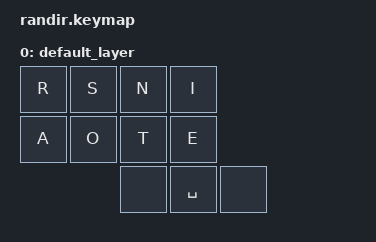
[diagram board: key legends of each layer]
/*
 * Copyright (c) 2020 The ZMK Contributors
 *
 * SPDX-License-Identifier: MIT
 */

#include <behaviors.dtsi>
#include <dt-bindings/zmk/keys.h>
#include <dt-bindings/zmk/bt.h>



&sk {
     release-after-ms = <2000>;
     quick-release;
 };
 

{
    combos {
        compatible = "zmk,combos";
		
//								
//		     	┌────┬────┬────┐
//		   ┌────┤ 1  |	2 | 3  | 
//	       | 0	├────┼────┼────┤
//	   ┌───┴┬───┤ 5  | 6  | 7  |
//	   | 4  |	└────┴──┬─┴──┬─┴──┐ 
//	   └────┘		    | 8  | 9  ├────┐
//					    └────┴────┤ 10 |
//							      └────┘
// COMBOS LETTERS

		combo_A {			timeout-ms = <50>;	key-positions = <4 9>;			bindings = <&kp LS(A) >;};
		combo_B {			timeout-ms = <50>;	key-positions = <0 1 9>;		bindings = <&kp LS(B) >;};
		combo_b {			timeout-ms = <50>;	key-positions = <0 1>;			bindings = <&kp B >;};
		combo_C {			timeout-ms = <50>;	key-positions = <5 7 9>;		bindings = <&kp LS(C) >;};
		combo_c {			timeout-ms = <50>;	key-positions = <5 7>;			bindings = <&kp C >;};
		combo_D {			timeout-ms = <50>;	key-positions = <4 7 9>;		bindings = <&kp LS(D) >;};
		combo_d {			timeout-ms = <50>;	key-positions = <4 7>;			bindings = <&kp D >;};
		combo_E {			timeout-ms = <50>;	key-positions = <7 9>;			bindings = <&kp LS(E) >;};
		combo_F {			timeout-ms = <50>;	key-positions = <1 3 9>;		bindings = <&kp LS(F) >;};
		combo_f {			timeout-ms = <50>;	key-positions = <1 3>;			bindings = <&kp F >;};
		combo_G {			timeout-ms = <50>;	key-positions = <0 3 9>;		bindings = <&kp LS(G) >;};
		combo_g {			timeout-ms = <50>;	key-positions = <0 3>;			bindings = <&kp G >;};
		combo_H {			timeout-ms = <50>;	key-positions = <6 7 9>;		bindings = <&kp LS(H) >;};
		combo_h {			timeout-ms = <50>;	key-positions = <6 7>;			bindings = <&kp H >;};
		combo_I {			timeout-ms = <50>;	key-positions = <3 9>;			bindings = <&kp LS(I) >;};
		combo_J {			timeout-ms = <50>;	key-positions = <2 4 9>;		bindings = <&kp LS(J) >;};
		combo_j {			timeout-ms = <50>;	key-positions = <2 4>;			bindings = <&kp J >;};
		combo_K {			timeout-ms = <50>;	key-positions = <3 5 9>;		bindings = <&kp LS(K) >;};
		combo_k {			timeout-ms = <50>;	key-positions = <3 5>;			bindings = <&kp K >;};
		combo_L {			timeout-ms = <50>;	key-positions = <4 5 9>;		bindings = <&kp LS(L) >;};
		combo_l {			timeout-ms = <50>;	key-positions = <4 5>;			bindings = <&kp L >;};
		combo_M {			timeout-ms = <50>;	key-positions = <0 7 9>;		bindings = <&kp LS(M) >;};
		combo_m {			timeout-ms = <50>;	key-positions = <0 7>;			bindings = <&kp M >;};
		combo_N {			timeout-ms = <50>;	key-positions = <2 9>;			bindings = <&kp LS(N) >;};
		combo_O {			timeout-ms = <50>;	key-positions = <5 9>;			bindings = <&kp LS(O) >;};
		combo_P {			timeout-ms = <50>;	key-positions = <1 2 9>;		bindings = <&kp LS(P) >;};
		combo_p {			timeout-ms = <50>;	key-positions = <1 2>;			bindings = <&kp P >;};
		combo_Qu {			timeout-ms = <50>;	key-positions = <4 6 9>;		bindings = <&kp LS(Q)>,<&kp U >;};
		combo_qu {			timeout-ms = <50>;	key-positions = <4 6>;			bindings = <&kp Q>,<&kp U >;};
		combo_R {			timeout-ms = <50>;	key-positions = <0 9>;			bindings = <&kp LS(R) >;};
		combo_S {			timeout-ms = <50>;	key-positions = <1 9>;			bindings = <&kp LS(S) >;};
		combo_T {			timeout-ms = <50>;	key-positions = <6 9>;			bindings = <&kp LS(T) >;};
		combo_U {			timeout-ms = <50>;	key-positions = <5 6 9>;		bindings = <&kp LS(U) >;};
		combo_u {			timeout-ms = <50>;	key-positions = <5 6>;			bindings = <&kp U >;};
		combo_V {			timeout-ms = <50>;	key-positions = <1 7 9>;		bindings = <&kp LS(V) >;};
		combo_v {			timeout-ms = <50>;	key-positions = <1 7>;			bindings = <&kp V >;};
		combo_W {			timeout-ms = <50>;	key-positions = <3 4 9>;		bindings = <&kp LS(W) >;};
		combo_w {			timeout-ms = <50>;	key-positions = <3 4>;			bindings = <&kp W >;};
		combo_X {			timeout-ms = <50>;	key-positions = <0 6 9>;		bindings = <&kp LS(X) >;};
		combo_x {			timeout-ms = <50>;	key-positions = <0 6>;			bindings = <&kp X >;};
		combo_Y {			timeout-ms = <50>;	key-positions = <2 3 9>;		bindings = <&kp LS(Y) >;};
		combo_y {			timeout-ms = <50>;	key-positions = <2 3>;			bindings = <&kp Y >;};
		combo_Z {			timeout-ms = <50>;	key-positions = <0 2 9>;		bindings = <&kp LS(Z) >;};
		combo_z {			timeout-ms = <50>;	key-positions = <0 2>;			bindings = <&kp Z >;};
	}; /*


//								
//		     	┌────┬────┬────┐
//		   ┌────┤ 1  |	2 | 3  | 
//	       | 0	├────┼────┼────┤
//	   ┌───┴┬───┤ 5  | 6  | 7  |
//	   | 4  |	└────┴──┬─┴──┬─┴──┐ 
//	   └────┘		    | 8  | 9  ├────┐
//					    └────┴────┤ 10 |
//							      └────┘
// COMBOS PUNCTUATION

		combo_. {			timeout-ms = <50>;	key-positions = <0 5>;			bindings = <&kp PERIOD >;};
		combo_, {			timeout-ms = <50>;	key-positions = <2 7>;			bindings = <&kp COMMA >;};
		combo_: {			timeout-ms = <50>;	key-positions = <0 5 9>;		bindings = <&kp COLON >;};
		combo_; {			timeout-ms = <50>;	key-positions = <2 7 9>;		bindings = <&kp SEMICOLON >;};
		combo_? {			timeout-ms = <50>;	key-positions = <3 6>;			bindings = <&kp QUESTION >;};
		combo_! {			timeout-ms = <50>;	key-positions = <3 6 9>;		bindings = <&kp EXCLAMATION >;};
		combo_apostrophe {	timeout-ms = <50>;	key-positions = <1 4>;			bindings = <&kp APOSTROPHE >;};
		combo_dbl_quotes {	timeout-ms = <50>;	key-positions = <1 4 9>;		bindings = <&kp DOUBLE_QUOTES >;};
//		combo_apostrophe {	timeout-ms = <50>;	key-positions = <1 4 10>;		bindings = <&kp ` >;};		
//		combo_ellipsis {	timeout-ms = <50>;	key-positions = <2 7 10>;		bindings = <&kp … >;};		
		
//								
//		     	┌────┬────┬────┐
//		   ┌────┤ 1  |	2 | 3  | 
//	       | 0	├────┼────┼────┤
//	   ┌───┴┬───┤ 5  | 6  | 7  |
//	   | 4  |	└────┴──┬─┴──┬─┴──┐ 
//	   └────┘		    | 8  | 9  ├────┐
//					    └────┴────┤ 10 |
//							      └────┘
// COMBOS NUMBERS
		combo_1 {			timeout-ms = <50>;	key-positions = <0 10>;			bindings = <&kp N1 >;};
		combo_2 {			timeout-ms = <50>;	key-positions = <1 10>;			bindings = <&kp N2 >;};
		combo_3 {			timeout-ms = <50>;	key-positions = <2 10>;			bindings = <&kp N3 >;};
		combo_4 {			timeout-ms = <50>;	key-positions = <3 10>;			bindings = <&kp N4 >;};
		combo_5 {			timeout-ms = <50>;	key-positions = <4 10>;			bindings = <&kp N5 >;};
		combo_6 {			timeout-ms = <50>;	key-positions = <5 10>;			bindings = <&kp N6 >;};
		combo_7 {			timeout-ms = <50>;	key-positions = <6 10>;			bindings = <&kp N7 >;};
		combo_8 {			timeout-ms = <50>;	key-positions = <7 10>;			bindings = <&kp N8 >;};
		combo_9 {			timeout-ms = <50>;	key-positions = <1 2 10>;		bindings = <&kp N9 >;};
		combo_0 {			timeout-ms = <50>;	key-positions = <5 6 10>;		bindings = <&kp N0 >;};

//								
//		     	┌────┬────┬────┐
//		   ┌────┤ 1  |	2 | 3  | 
//	       | 0	├────┼────┼────┤
//	   ┌───┴┬───┤ 5  | 6  | 7  |
//	   | 4  |	└────┴──┬─┴──┬─┴──┐ 
//	   └────┘		    | 8  | 9  ├────┐
//					    └────┴────┤ 10 |
//							      └────┘
//// COMBOS NUMBERS

		combo_[ {			timeout-ms = <50>;	key-positions = <0 1 10>;		bindings = <&kp LEFT_BRACKET >;};
		combo_] {			timeout-ms = <50>;	key-positions = <2 3 10>;		bindings = <&kp RIGHT_BRACKET >;};
		combo_{ {			timeout-ms = <50>;	key-positions = <0 2 10>;		bindings = <&kp LEFT_BRACE >;};
		combo_} {			timeout-ms = <50>;	key-positions = <1 3 10>;		bindings = <&kp RIGHT_BRACE >;};
		combo_@ {			timeout-ms = <50>;	key-positions = <0 3 10>;		bindings = <&kp AT >;};
//		combo_degree {		timeout-ms = <50>;	key-positions = <0 5 10>;		bindings = <&kp ° >;};
		combo_^ {			timeout-ms = <50>;	key-positions = <0 6 10>;		bindings = <&kp CARET >;};
		combo_$ {			timeout-ms = <50>;	key-positions = <0 7 10>;		bindings = <&kp DOLLAR >;};
		combo__ {			timeout-ms = <50>;	key-positions = <2 5 9>;		bindings = <&kp UNDERSCORE >;};
		combo_= {			timeout-ms = <50>;	key-positions = <2 4 10>;		bindings = <&kp EQUAL >;};
		combo_& {			timeout-ms = <50>;	key-positions = <3 4 10>;		bindings = <&kp AMPERSAND >;};
		combo_~ {			timeout-ms = <50>;	key-positions = <2 5 10>;		bindings = <&kp TILDE >;};
		combo_+ {			timeout-ms = <50>;	key-positions = <3 5 10>;		bindings = <&kp PLUS >;};
		combo_( {			timeout-ms = <50>;	key-positions = <4 5 10>;		bindings = <&kp LEFT_PARENTHESIS >;};
		combo_) {			timeout-ms = <50>;	key-positions = <6 7 10>;		bindings = <&kp RIGHT_PARENTHESIS >;};
		combo_% {			timeout-ms = <50>;	key-positions = <3 6 10>;		bindings = <&kp PERCENT >;};
		combo_< {			timeout-ms = <50>;	key-positions = <4 6 10>;		bindings = <&kp LESS_THAN >;};
		combo_> {			timeout-ms = <50>;	key-positions = <5 7 10>;		bindings = <&kp GREATER_THAN >;};
		combo_* {			timeout-ms = <50>;	key-positions = <1 7 10>;		bindings = <&kp ASTERISK >;};
		combo_# {			timeout-ms = <50>;	key-positions = <4 7 10>;		bindings = <&kp HASH >;};
		combo_- {			timeout-ms = <50>;	key-positions = <2 5>;			bindings = <&kp MINUS >;};
		combo_/ {			timeout-ms = <50>;	key-positions = <1 6>;			bindings = <&kp SLASH >;};
		combo_\ {			timeout-ms = <50>;	key-positions = <1 6 9>;		bindings = <&kp BACKSLASH >;};
		combo_| {			timeout-ms = <50>;	key-positions = <1 6 10>;		bindings = <&kp PIPE >;};		


		
//								
//		     	┌────┬────┬────┐
//		   ┌────┤ 1  |	2 | 3  | 
//	       | 0	├────┼────┼────┤
//	   ┌───┴┬───┤ 5  | 6  | 7  |
//	   | 4  |	└────┴──┬─┴──┬─┴──┐ 
//	   └────┘		    | 8  | 9  ├────┐
//					    └────┴────┤ 10 |
//							      └────┘
//
// COMBOS WHITESPACES, BACKSPACES AND ENTER

		combo_ENTER {		timeout-ms = <50>;	key-positions = <5 6 7>;		bindings = <&kp ENTER >;};
		combo_BCKSPC {		timeout-ms = <50>;	key-positions = <1 2 3>;		bindings = <&kp BACKSPACE >;};
		combo_DEL {			timeout-ms = <50>;	key-positions = <0 1 2>;		bindings = <&kp DELETE >;};
		combo_TAB {			timeout-ms = <50>;	key-positions = <4 5 6>;		bindings = <&kp TAB >;};
		combo_ESC {			timeout-ms = <50>;	key-positions = <0 1 2 3>;		bindings = <&kp ESCAPE >;};
		
//								
//		     	┌────┬────┬────┐
//		   ┌────┤ 1  |	2 | 3  | 
//	       | 0	├────┼────┼────┤
//	   ┌───┴┬───┤ 5  | 6  | 7  |
//	   | 4  |	└────┴──┬─┴──┬─┴──┐ 
//	   └────┘		    | 8  | 9  ├────┐
//					    └────┴────┤ 10 |
//							      └────┘
// COMBOS FOR MODIFIERS

		combo_ALT {			timeout-ms = <50>;	key-positions = <3 7>;			bindings = <&sk LEFT_ALT >;};
		combo_GUI {			timeout-ms = <50>;	key-positions = <2 6>;			bindings = <&sk LEFT_GUI >;};
		combo_PRINTSCREEN {	timeout-ms = <50>;	key-positions = <2 6 9>;		bindings = <&kp PRINTSCREEN >;};
		combo_ALTPS {		timeout-ms = <50>;	key-positions = <2 6 10>;		bindings = <&kp LA(PRINTSCREEN) >;};
		combo_CTRLGUI {		timeout-ms = <50>;	key-positions = <0 2 4 6>;		bindings = <&sk LC(LEFT_GUI) >;};
		combo_CTRLSHFTALT {	timeout-ms = <50>;	key-positions = <0 1 3 4 5 7>;	bindings = <&sk LC(LS(LEFT_ALT)) >;};
//		combo_GUIALT {		timeout-ms = <50>;	key-positions = <2 3 6 7>;		bindings = <&sk GUIALT >;};
		combo_CTRLDEL {		timeout-ms = <50>;	key-positions = <0 1 2 9>;		bindings = <&kp LC(DEL) >;};
		combo_CTRL {		timeout-ms = <50>;	key-positions = <0 4>;			bindings = <&kp LEFT_CONTROL >;};
		combo_PAGEUP {		timeout-ms = <50>;	key-positions = <0 4 9>;		bindings = <&kp PAGE_UP >;};
		combo_PAGEDOWN {	timeout-ms = <50>;	key-positions = <0 4 10>;		bindings = <&kp PAGE_DOWN >;};
		combo_SHIFT {		timeout-ms = <50>;	key-positions = <1 5>;			bindings = <&kp LEFT_SHIFT >;};
		combo_HOME {		timeout-ms = <50>;	key-positions = <1 5 9>;		bindings = <&kp HOME >;};
		combo_END {			timeout-ms = <50>;	key-positions = <1 5 10>;		bindings = <&kp END >;};
		combo_CTRLSHFT {	timeout-ms = <50>;	key-positions = <0 1 4 5>;		bindings = <&sk LC(LEFT_SHIFT) >;};
		combo_CTRLALT {		timeout-ms = <50>;	key-positions = <0 3 4 7>;		bindings = <&sk LC(LEFT_ALT) >;};
		combo_SHFTALT {		timeout-ms = <50>;	key-positions = <1 3 5 7>;		bindings = <&sk LS(LEFT_ALT) >;};
//		combo_FUNCTION {	timeout-ms = <50>;	key-positions = <1 2 3 10>;		bindings = <&kp FN >;};

 
//								
//		     	┌────┬────┬────┐
//		   ┌────┤ 1  |	2 | 3  | 
//	       | 0	├────┼────┼────┤
//	   ┌───┴┬───┤ 5  | 6  | 7  |
//	   | 4  |	└────┴──┬─┴──┬─┴──┐ 
//	   └────┘		    | 8  | 9  ├────┐
//					    └────┴────┤ 10 |
//							      └────┘
//	COMBOS FOR WORD PARTS

		combo_able {		timeout-ms = <50>;	key-positions = <0 1 4 5 7>;	bindings = <&kp A>,<&kp B>,<&kp L>,<&kp E>;};
		combo_about {		timeout-ms = <50>;	key-positions = <0 1 4 5 6>;	bindings = <&kp A>,<&kp B>,<&kp O>,<&kp U>,<&kp T >;};
		combo_ack {			timeout-ms = <50>;	key-positions = <3 4 5 7>;		bindings = <&kp A>,<&kp C>,<&kp K>;};
/*		combo_aise {		timeout-ms = <50>;	key-positions = <1 3 4 7 9>;	bindings = <&kp aise >;};
		combo_ake {			timeout-ms = <50>;	key-positions = <3 4 5 7 9>;	bindings = <&kp ake >;};
		combo_al {			timeout-ms = <50>;	key-positions = <0 4 5 9>;		bindings = <&kp al >;};
		combo_all {			timeout-ms = <50>;	key-positions = <0 4 5>;		bindings = <&kp all >;};
		combo_ally {		timeout-ms = <50>;	key-positions = <2 3 4 5 10>;	bindings = <&kp ally >;};
		combo_also {		timeout-ms = <50>;	key-positions = <1 4 5 6 7>;	bindings = <&kp also >;};
		combo_and {			timeout-ms = <50>;	key-positions = <2 4 7>;		bindings = <&kp and >;};
		combo_ange {		timeout-ms = <50>;	key-positions = <0 2 3 4 7>;	bindings = <&kp ange >;};
		combo_are {			timeout-ms = <50>;	key-positions = <0 4 7>;		bindings = <&kp are >;};
		combo_ation {		timeout-ms = <50>;	key-positions = <2 3 4 5 6>;	bindings = <&kp ation >;};
		combo_ative {		timeout-ms = <50>;	key-positions = <1 3 4 6 7>;	bindings = <&kp ative >;};
		combo_ave {			timeout-ms = <50>;	key-positions = <1 4 7>;		bindings = <&kp ave >;};
		combo_be {			timeout-ms = <50>;	key-positions = <0 1 7 9>;		bindings = <&kp be >;};
		combo_because {		timeout-ms = <50>;	key-positions = <0 1 4 5 6 7>;	bindings = <&kp because >;};
		combo_ch {			timeout-ms = <50>;	key-positions = <5 6 7 9>;		bindings = <&kp ch >;};
		combo_day {			timeout-ms = <50>;	key-positions = <2 3 4 7>;		bindings = <&kp day >;};
		combo_dis {			timeout-ms = <50>;	key-positions = <1 3 4 7>;		bindings = <&kp dis >;};
		combo_each {		timeout-ms = <50>;	key-positions = <4 5 6 7>;		bindings = <&kp each >;};
		combo_eal {			timeout-ms = <50>;	key-positions = <4 5 7>;		bindings = <&kp eal >;};
		combo_ear {			timeout-ms = <50>;	key-positions = <0 4 7 9>;		bindings = <&kp ear >;};
		combo_een {			timeout-ms = <50>;	key-positions = <2 6 7 9>;		bindings = <&kp een >;};
		combo_eir {			timeout-ms = <50>;	key-positions = <0 3 7>;		bindings = <&kp eir >;};
		combo_ent {			timeout-ms = <50>;	key-positions = <2 6 7>;		bindings = <&kp ent >;};
		combo_ere {			timeout-ms = <50>;	key-positions = <0 6 7 9>;		bindings = <&kp ere >;};
		combo_ess {			timeout-ms = <50>;	key-positions = <1 2 7>;		bindings = <&kp ess >;};
		combo_ever {		timeout-ms = <50>;	key-positions = <0 1 7>;		bindings = <&kp ever >;};
		combo_every {		timeout-ms = <50>;	key-positions = <0 1 2 3 7>;	bindings = <&kp every >;};
		combo_for {			timeout-ms = <50>;	key-positions = <0 1 3 5>;		bindings = <&kp for >;};
		combo_from {		timeout-ms = <50>;	key-positions = <0 1 3 5 7>;	bindings = <&kp from >;};
		combo_has {			timeout-ms = <50>;	key-positions = <1 4 6 7 9>;	bindings = <&kp has >;};
		combo_have {		timeout-ms = <50>;	key-positions = <1 4 6 7>;		bindings = <&kp have >;};
		combo_ible {		timeout-ms = <50>;	key-positions = <0 1 4 5 7 9>;	bindings = <&kp ible >;};
		combo_ice {			timeout-ms = <50>;	key-positions = <3 5 7>;		bindings = <&kp ice >;};
		combo_ich {			timeout-ms = <50>;	key-positions = <0 3 4 5 6 7>;	bindings = <&kp ich >;};
		combo_ies {			timeout-ms = <50>;	key-positions = <1 3 7 9>;		bindings = <&kp ies >;};
		combo_igh {			timeout-ms = <50>;	key-positions = <0 3 6 7>;		bindings = <&kp igh >;};
		combo_ight {		timeout-ms = <50>;	key-positions = <0 3 6 7 9>;	bindings = <&kp ight >;};
		combo_ind {			timeout-ms = <50>;	key-positions = <2 3 4 7 9>;	bindings = <&kp ind >;};
		combo_ine {			timeout-ms = <50>;	key-positions = <3 6 7>;		bindings = <&kp ine >;};
		combo_ing {			timeout-ms = <50>;	key-positions = <0 2 3>;		bindings = <&kp ing >;};
		combo_ion {			timeout-ms = <50>;	key-positions = <2 3 5>;		bindings = <&kp ion >;};
		combo_ious {		timeout-ms = <50>;	key-positions = <0 1 5 6>;		bindings = <&kp ious >;};
		combo_irst {		timeout-ms = <50>;	key-positions = <0 1 3 6>;		bindings = <&kp irst >;};
		combo_ise {			timeout-ms = <50>;	key-positions = <1 3 7>;		bindings = <&kp ise >;};
		combo_ism {			timeout-ms = <50>;	key-positions = <0 2 7>;		bindings = <&kp ism >;};
		combo_ist {			timeout-ms = <50>;	key-positions = <1 3 6>;		bindings = <&kp ist >;};
		combo_ive {			timeout-ms = <50>;	key-positions = <1 3 7 10>;		bindings = <&kp ive >;};
		combo_ld {			timeout-ms = <50>;	key-positions = <4 5 7 9>;		bindings = <&kp ld >;};
		combo_less {		timeout-ms = <50>;	key-positions = <1 2 7 10>;		bindings = <&kp less >;};
		combo_less {		timeout-ms = <50>;	key-positions = <1 6 7 10>;		bindings = <&kp less >;};
		combo_lly {			timeout-ms = <50>;	key-positions = <2 3 4 5 9>;	bindings = <&kp lly >;};
		combo_ly {			timeout-ms = <50>;	key-positions = <2 3 4 5>;		bindings = <&kp ly >;};
		combo_ment {		timeout-ms = <50>;	key-positions = <0 2 6 7>;		bindings = <&kp ment >;};
		combo_ness {		timeout-ms = <50>;	key-positions = <1 2 7 9>;		bindings = <&kp ness >;};
		combo_obvious {		timeout-ms = <50>;	key-positions = <0 1 3 5 6 7>;	bindings = <&kp obvious >;};
		combo_ock {			timeout-ms = <50>;	key-positions = <3 5 7 9>;		bindings = <&kp ock >;};
		combo_oint {		timeout-ms = <50>;	key-positions = <2 3 5 6 9>;	bindings = <&kp oint >;};
		combo_ome {			timeout-ms = <50>;	key-positions = <0 5 7>;		bindings = <&kp ome >;};
		combo_one {			timeout-ms = <50>;	key-positions = <2 5 7>;		bindings = <&kp one >;};
		combo_ook {			timeout-ms = <50>;	key-positions = <1 3 5>;		bindings = <&kp ook >;};
		combo_ore {			timeout-ms = <50>;	key-positions = <0 5 7 9>;		bindings = <&kp ore >;};
		combo_ose {			timeout-ms = <50>;	key-positions = <1 5 7>;		bindings = <&kp ose >;};
		combo_other {		timeout-ms = <50>;	key-positions = <0 5 6 7>;		bindings = <&kp other >;};
		combo_ough {		timeout-ms = <50>;	key-positions = <0 3 5 6 7>;	bindings = <&kp ough >;};
		combo_ought {		timeout-ms = <50>;	key-positions = <0 3 5 6 7 9>;	bindings = <&kp ought >;};
		combo_ould {		timeout-ms = <50>;	key-positions = <4 5 6 7 9>;	bindings = <&kp ould >;};
		combo_our {			timeout-ms = <50>;	key-positions = <0 5 6>;		bindings = <&kp our >;};
		combo_ous {			timeout-ms = <50>;	key-positions = <1 5 6>;		bindings = <&kp ous >;};
		combo_ouse {		timeout-ms = <50>;	key-positions = <1 5 6 7>;		bindings = <&kp ouse >;};
		combo_out {			timeout-ms = <50>;	key-positions = <2 5 6>;		bindings = <&kp out >;};
		combo_pra {			timeout-ms = <50>;	key-positions = <0 1 2 4>;		bindings = <&kp pra >;};
		combo_pre {			timeout-ms = <50>;	key-positions = <0 1 2 7>;		bindings = <&kp pre >;};
		combo_pro {			timeout-ms = <50>;	key-positions = <0 1 2 5>;		bindings = <&kp pro >;};
		combo_psy {			timeout-ms = <50>;	key-positions = <1 2 3 6>;		bindings = <&kp psy >;};
		combo_psych {		timeout-ms = <50>;	key-positions = <1 2 3 6 9>;	bindings = <&kp psych >;};
		combo_rst {			timeout-ms = <50>;	key-positions = <0 1 6>;		bindings = <&kp rst >;};
		combo_sh {			timeout-ms = <50>;	key-positions = <1 6 7>;		bindings = <&kp sh >;};
		combo_sm {			timeout-ms = <50>;	key-positions = <0 1 7 10>;		bindings = <&kp sm >;};
		combo_than {		timeout-ms = <50>;	key-positions = <2 4 6 7>;		bindings = <&kp than >;};
		combo_that {		timeout-ms = <50>;	key-positions = <4 6 7>;		bindings = <&kp that >;};
		combo_then {		timeout-ms = <50>;	key-positions = <2 4 6 7 9>;	bindings = <&kp then >;};
		combo_there {		timeout-ms = <50>;	key-positions = <0 6 7>;		bindings = <&kp there >;};
		combo_these {		timeout-ms = <50>;	key-positions = <1 6 7 9>;		bindings = <&kp these >;};
		combo_thin {		timeout-ms = <50>;	key-positions = <2 6 7 10>;		bindings = <&kp thin >;};
		combo_this {		timeout-ms = <50>;	key-positions = <1 3 6 7>;		bindings = <&kp this >;};
		combo_thr {			timeout-ms = <50>;	key-positions = <0 6 7 10>;		bindings = <&kp thr >;};
		combo_tion {		timeout-ms = <50>;	key-positions = <2 3 5 6>;		bindings = <&kp tion >;};
		combo_tive {		timeout-ms = <50>;	key-positions = <1 3 6 7 9>;	bindings = <&kp tive >;};
		combo_ttle {		timeout-ms = <50>;	key-positions = <4 5 6 7 10>;	bindings = <&kp ttle >;};
		combo_uch {			timeout-ms = <50>;	key-positions = <5 6 7 10>;		bindings = <&kp uch >;};
		combo_uous {		timeout-ms = <50>;	key-positions = <1 5 6 9>;		bindings = <&kp uous >;};
		combo_was {			timeout-ms = <50>;	key-positions = <1 3 4>;		bindings = <&kp was >;};
		combo_we {			timeout-ms = <50>;	key-positions = <3 4 7>;		bindings = <&kp we >;};
		combo_wh {			timeout-ms = <50>;	key-positions = <3 4 7 9>;		bindings = <&kp wh >;};
		combo_what {		timeout-ms = <50>;	key-positions = <3 4 6 7 9>;	bindings = <&kp what >;};
		combo_when {		timeout-ms = <50>;	key-positions = <2 3 4 6 7>;	bindings = <&kp when >;};
		combo_with {		timeout-ms = <50>;	key-positions = <3 4 6 7>;		bindings = <&kp with >;};
		combo_your {		timeout-ms = <50>;	key-positions = <0 5 6 9>;		bindings = <&kp your >;};


    }; */



       keymap {
		compatible = "zmk,keymap";
		
		default_layer {
        bindings = <
//		┌───P1──────┬───R1──────┬───M1──────┬───I1──────┐
			&kp R		&kp S		&kp N		&kp I
//	┌───┴P2─────┬───┼───R2──────┼───M2──────┼───I2──────┤
        &kp A			&kp O		&kp T		&kp E 
//	└───────────┘	└───────────┼───EncSW───┼───T1──────┼───T2──────┐
									&none	  &kp SPACE		&none
//								└───────────┴───────────┴───────────┘
							
        >;
        };
    };
};
